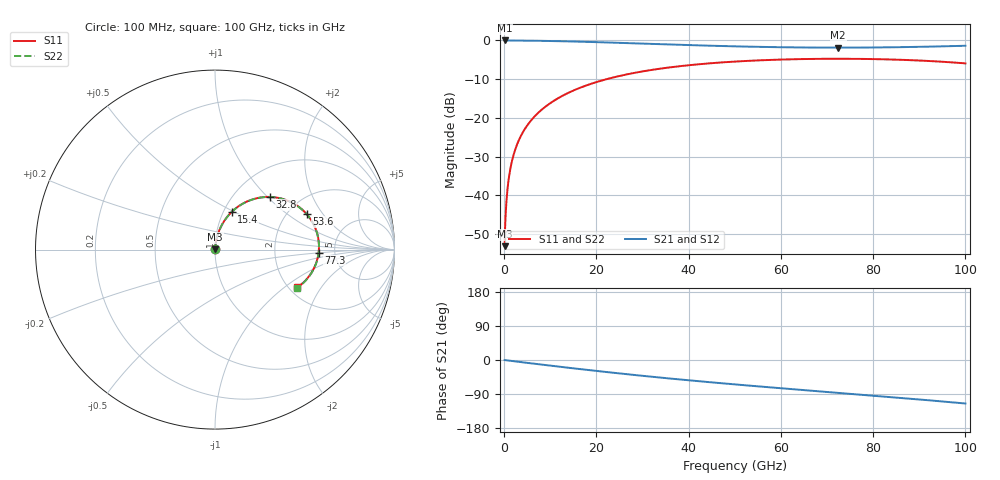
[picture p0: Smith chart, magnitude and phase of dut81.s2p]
! Touchstone file exported from HFSS 2026.1.0
!  File:  C:/ffzhzh/LocalFiles/Ansys_Project_Files/temp_train_RDL_81_1783498787_44152.aedt
!  Generated:  04:20:59 PM Jul  8, 2026
!  Design:  RDL
!  Project:  temp_train_RDL_81_1783498787_44152
! Variables:
!  h_bsmrdl = 2um
!  h_ox = 20um
!  h_rdl = 5um
!  h_sub = 80um
!  h_tmrdl = 4.72um
!  h_tsv = 80um
!  h_via = 3um
!  l_bsmrdl = 300um
!  l_sub = 780.26um
!  l_tmrdl = 380.26um
!  m_sub = 200um
!  pitch = 58.21um
!  r_tsv = 6um
!  s_tmrdl = 10um
!  w_bsmrdl = 18um
!  w_sub = 500um
!  w_tmrdl = 24.13um
!  x_tsv_center1 = 392.325um
!  x_tsv_center2 = 710.325um
!  x_tsv_center3 = 1114.715um
!  x_tsv_center4 = 1432.715um
!  x_tsv_center5 = 1837.105um
!  x_tsv_center6 = 2155.105um
# GHz S MA R 50.000000
! Terminal data exported
! Port[1] = TM_RDL1_1_T1
! Port[2] = TM_RDL1_1_T2
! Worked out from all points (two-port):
!   1000 points, 100 MHz to 100 GHz, reference 50 ohm
!   highest |S21| = -0.01 dB at 100 MHz (marker M1); lowest = -1.9 dB at 72.4 GHz (marker M2)
!   |S21| within 3 dB of the highest: start of sweep to end of sweep
!   lowest |S11| = -53.1 dB at 100 MHz (marker M3), VSWR 1.00, Z = 50.1 + j0.175 ohm
!   |S11| at or under -10 dB: start of sweep to 22.22 GHz
!   |S22| runs from -53.1 to -4.7 dB; largest |S21 - S12| = 1.5e-14
!   S11 on the Smith chart (normalised r, x): 100 MHz: 1.00, +0.00; 15.4 GHz: 1.09, +0.49; 32.8 GHz: 1.44, +1.03; 53.6 GHz: 2.50, +1.42; 77.3 GHz: 3.72, -0.19; 100 GHz: 2.21, -1.25
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0.1  0.002214 52.2  0.9986 -0.2  0.9986 -0.2  0.002214 52.2
! Gamma 0 0 0 0
! Port Impedance 50 0 50 0
0.8  0.01327 81.5  0.9982 -1.2  0.9982 -1.2  0.01327 81.5
1  0.0165 82.5  0.9981 -1.5  0.9981 -1.5  0.0165 82.5
1.3  0.02135 83.2  0.998 -2.0  0.998 -2.0  0.02135 83.2
1.7  0.0278 83.4  0.9977 -2.6  0.9977 -2.6  0.0278 83.4
2.2  0.03584 83.3  0.9972 -3.4  0.9972 -3.4  0.03584 83.2
3.6  0.05809 81.9  0.9956 -5.5  0.9956 -5.5  0.05809 81.8
5.5  0.08764 79.4  0.9926 -8.3  0.9926 -8.3  0.08764 79.4
8.1  0.127 75.9  0.9874 -12.1  0.9874 -12.1  0.127 75.9
11.4  0.1753 71.4  0.9793 -16.9  0.9793 -16.9  0.1753 71.4
15.4  0.2308 66.0  0.967 -22.5  0.967 -22.5  0.2308 66.0
16.8  0.2493 64.1  0.9622 -24.5  0.9622 -24.5  0.2493 64.1
24  0.3365 54.7  0.9346 -34.1  0.9346 -34.1  0.3365 54.6
32.8  0.4233 43.9  0.8983 -45.1  0.8983 -45.1  0.4233 43.8
33.4  0.4284 43.2  0.8959 -45.9  0.8959 -45.9  0.4284 43.1
50.1  0.5336 24.9  0.8378 -64.5  0.8378 -64.5  0.5336 24.7
53.6  0.5473 21.3  0.829 -68.1  0.829 -68.1  0.5474 21.1
66.7  0.5769 8.5  0.809 -81.1  0.809 -81.1  0.577 8.2
72.4  0.5798 3.0  0.8069 -86.7  0.8069 -86.7  0.5798 2.7
77.3  0.5774 -1.7  0.8084 -91.4  0.8084 -91.4  0.5775 -2.0
83.4  0.5683 -7.6  0.8144 -97.5  0.8144 -97.5  0.5684 -7.9
100  0.5053 -24.6  0.8529 -114.8  0.8529 -114.8  0.5054 -24.9
